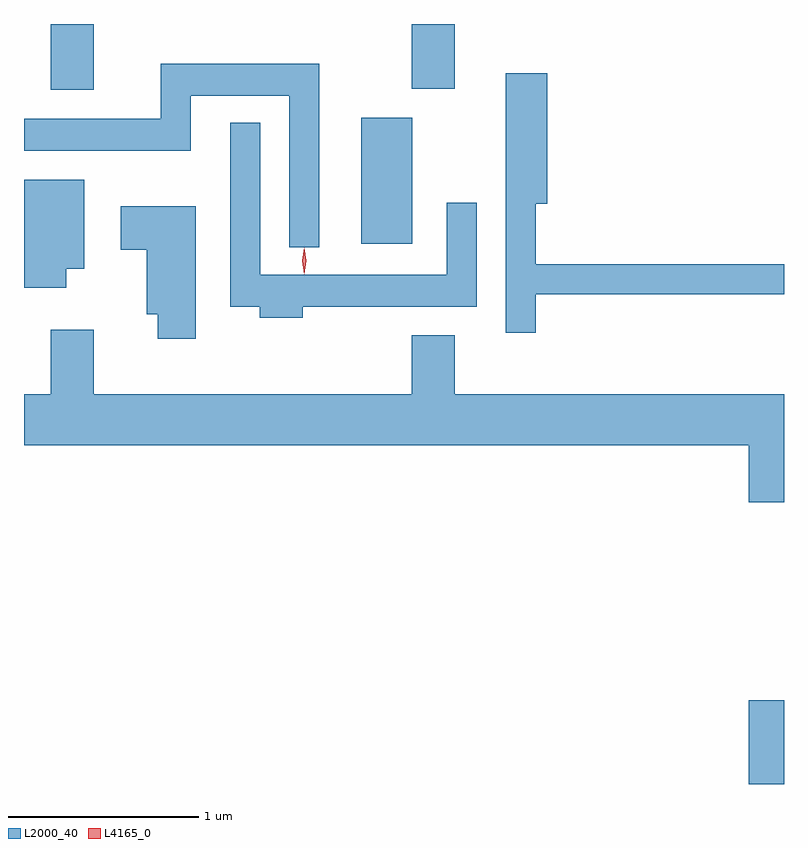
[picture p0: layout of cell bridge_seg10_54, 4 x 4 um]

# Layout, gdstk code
import gdstk
lib = gdstk.Library(unit=1e-6, precision=1e-09)
def R(c, l, rs):  # rectangles x0, y0, x1, y1
    for r in rs: c.add(gdstk.rectangle(r[:2], r[2:], *l))
def P(c, l, *ps):  # polygons
    for p in ps: c.add(gdstk.Polygon(p, *l))
L2000_40 = (2000, 40)
L4165_0 = (4165, 0)

bridge_seg10_54 = lib.new_cell('bridge_seg10_54')
R(bridge_seg10_54, L2000_40, [(1593.696,2158.753,1593.881,2159.194), (1591.656,2161.596,1591.924,2162.259), (1590.021,2162.406,1590.249,2162.753), (1591.921,2162.411,1592.149,2162.753)])
P(bridge_seg10_54, L2000_40, [(1591.434,2162.544),(1590.601,2162.544),(1590.601,2162.254),(1589.881,2162.254),(1589.881,2162.086),(1590.759,2162.086),(1590.759,2162.376),(1591.276,2162.376),(1591.276,2161.578),(1591.434,2161.578)],
  [(1592.574,2161.331),(1593.881,2161.331),(1593.881,2161.489),(1592.574,2161.489),(1592.574,2161.806),(1592.634,2161.806),(1592.634,2162.494),(1592.416,2162.494),(1592.416,2161.128),(1592.574,2161.128)],
  [(1591.349,2161.266),(1592.264,2161.266),(1592.264,2161.813),(1592.106,2161.813),(1592.106,2161.434),(1591.124,2161.434),(1591.124,2162.233),(1590.966,2162.233),(1590.966,2161.266),(1591.121,2161.266),(1591.121,2161.206),(1591.349,2161.206)],
  [(1590.104,2161.466),(1590.199,2161.466),(1590.199,2161.934),(1589.881,2161.934),(1589.881,2161.366),(1590.104,2161.366)],
  [(1590.784,2161.794),(1590.391,2161.794),(1590.391,2161.566),(1590.526,2161.566),(1590.526,2161.226),(1590.586,2161.226),(1590.586,2161.096),(1590.784,2161.096)],
  [(1593.881,2160.804),(1592.149,2160.804),(1592.149,2161.114),(1591.921,2161.114),(1591.921,2160.804),(1590.249,2160.804),(1590.249,2161.144),(1590.021,2161.144),(1590.021,2160.804),(1589.881,2160.804),(1589.881,2160.536),(1593.696,2160.536),(1593.696,2160.236),(1593.881,2160.236)])
P(bridge_seg10_54, L4165_0, [(1591.355,2161.437),(1591.346,2161.507),(1591.355,2161.576),(1591.356,2161.576),(1591.356,2161.576),(1591.366,2161.507),(1591.356,2161.437),(1591.356,2161.437)],
  [(1591.355,2161.439),(1591.355,2161.44),(1591.345,2161.506),(1591.355,2161.572),(1591.355,2161.573),(1591.356,2161.572),(1591.365,2161.506),(1591.356,2161.44)])

lib.write_gds('bridge_seg10_54.gds')
